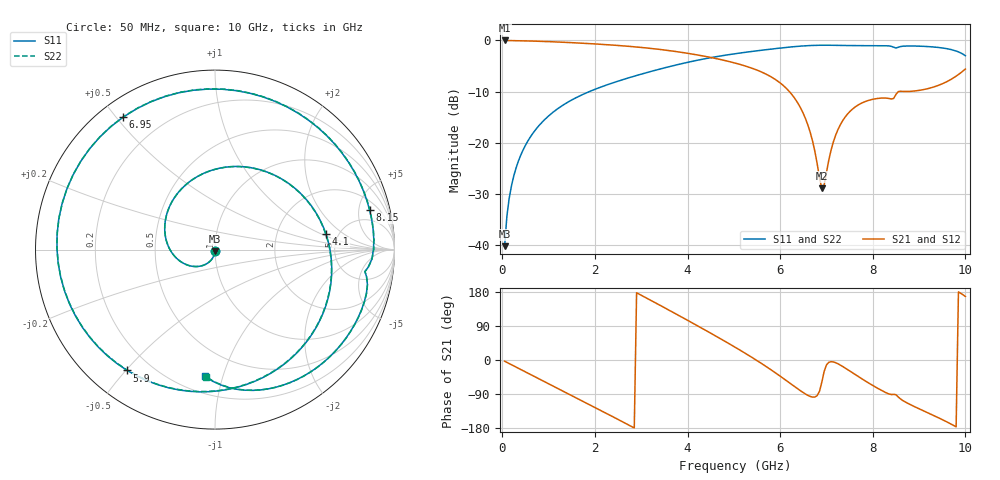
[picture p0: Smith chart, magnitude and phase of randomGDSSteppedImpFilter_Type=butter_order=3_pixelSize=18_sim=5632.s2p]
! freq	dB(S11)	phase(S11)	dB(S12)	phase(S12)
!  dB(S21)	phase(S21)	dB(S22)	phase(S22)
!S-par simulation data
#  GHz  S  DB  R 50
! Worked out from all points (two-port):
!   200 points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, 50 MHz to 10 GHz, reference 50 ohm
!   highest |S21| = 0.00 dB at 50 MHz (marker M1); lowest = -28.9 dB at 6.9 GHz (marker M2)
!   |S21| within 3 dB of the highest: start of sweep to 4.317 GHz
!   lowest |S11| = -40.2 dB at 50 MHz (marker M3), VSWR 1.02, Z = 50 - j0.975 ohm
!   |S11| at or under -10 dB: start of sweep to 1.879 GHz
!   |S22| runs from -40.2 to -0.9 dB; largest |S21 - S12| = 0
!   S11 on the Smith chart (normalised r, x): 50 MHz: 1.00, -0.02; 4.1 GHz: 4.00, +1.11; 5.9 GHz: 0.11, -0.50; 6.95 GHz: 0.07, +0.52; 8.15 GHz: 3.10, +6.51; 10 GHz: 0.31, -0.87
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0.05  -40.21 -91.9  -0.00 -3.2  -0.00 -3.2  -40.21 -91.9
0.2  -28.33 -102.0  -0.03 -12.6  -0.03 -12.6  -28.33 -102.0
0.5  -20.49 -121.6  -0.09 -31.4  -0.09 -31.4  -20.49 -121.6
1.15  -13.65 -162.7  -0.29 -72.0  -0.29 -72.0  -13.65 -162.8
1.75  -10.51 159.8  -0.55 -109.5  -0.55 -109.5  -10.51 159.6
2.6  -7.67 106.0  -1.05 -163.3  -1.05 -163.3  -7.67 105.8
3.4  -5.60 54.2  -1.76 144.8  -1.76 144.8  -5.60 53.9
4.1  -4.09 7.8  -2.66 98.1  -2.66 98.1  -4.09 7.3
4.6  -3.21 -26.2  -3.51 63.9  -3.51 63.9  -3.21 -26.8
5.05  -2.56 -58.1  -4.48 32.1  -4.48 32.1  -2.57 -58.8
5.5  -2.02 -92.2  -5.80 -1.5  -5.80 -1.5  -2.03 -93.1
5.9  -1.59 -126.0  -7.65 -34.0  -7.65 -34.0  -1.60 -127.0
6.35  -1.18 -169.6  -11.79 -73.5  -11.79 -73.5  -1.18 -170.7
6.7  -0.98 152.5  -19.67 -98.0  -19.67 -98.0  -0.97 151.5
6.9  -0.94 130.3  -28.92 -58.5  -28.92 -58.5  -0.93 129.3
6.95  -0.93 124.7  -28.22 -30.2  -28.22 -30.2  -0.93 123.8
7.35  -0.98 82.4  -15.69 -17.1  -15.69 -17.1  -0.97 81.7
7.75  -1.02 45.5  -12.29 -48.6  -12.29 -48.6  -1.01 45.1
8.15  -1.02 14.3  -11.29 -77.6  -11.29 -77.6  -1.01 14.1
8.35  -1.08 0.0  -11.35 -89.6  -11.35 -89.6  -1.07 -0.1
9.3  -1.27 -52.6  -9.14 -145.7  -9.14 -145.7  -1.26 -52.5
10  -2.99 -94.6  -5.58 167.7  -5.58 167.7  -2.97 -94.1
